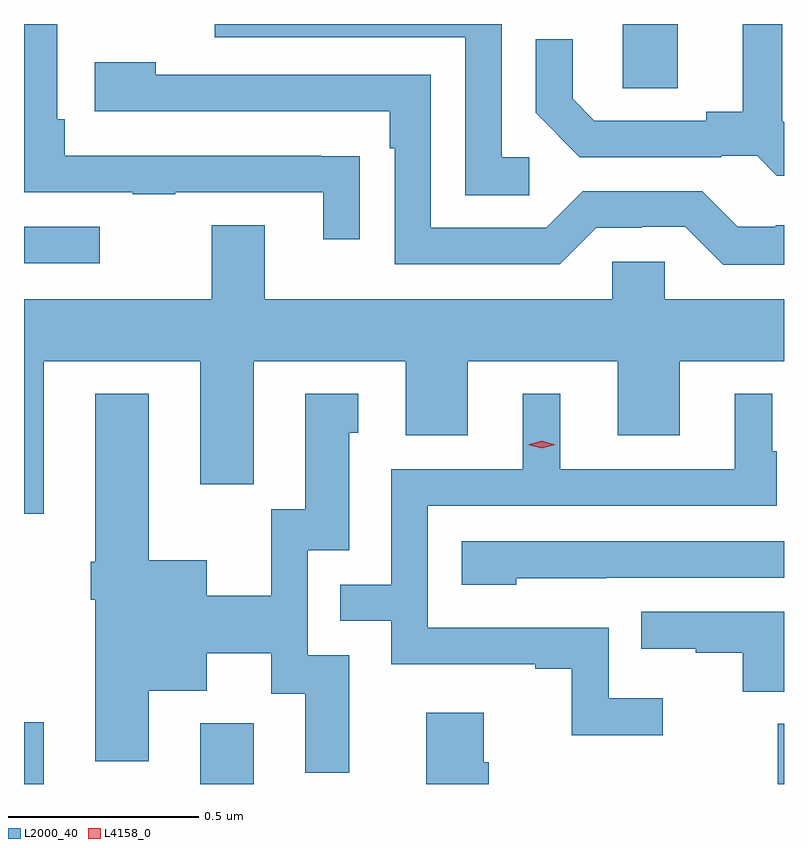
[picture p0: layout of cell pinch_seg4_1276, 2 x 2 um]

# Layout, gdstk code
import gdstk
lib = gdstk.Library(unit=1e-6, precision=1e-09)
def R(c, l, rs):  # rectangles x0, y0, x1, y1
    for r in rs: c.add(gdstk.rectangle(r[:2], r[2:], *l))
def P(c, l, *ps):  # polygons
    for p in ps: c.add(gdstk.Polygon(p, *l))
L2000_40 = (2000, 40)
L4158_0 = (4158, 0)

pinch_seg4_1276 = lib.new_cell('pinch_seg4_1276')
R(pinch_seg4_1276, L2000_40, [(142.821,819.684,142.873,819.847), (143.285,819.684,143.425,819.844), (144.804,819.684,144.821,819.842), (142.821,821.055,143.02,821.151), (144.396,821.515,144.541,821.684)])
P(pinch_seg4_1276, L2000_40, [(144.151,821.334),(144.078,821.334),(144.078,821.684),(143.323,821.684),(143.323,821.649),(143.982,821.649),(143.982,821.233),(144.151,821.233)],
  [(144.821,821.425),(144.817,821.429),(144.817,821.684),(144.713,821.684),(144.713,821.453),(144.617,821.453),(144.617,821.43),(144.322,821.43),(144.265,821.487),(144.265,821.644),(144.168,821.644),(144.168,821.45),(144.284,821.334),(144.656,821.334),(144.656,821.337),(144.75,821.337),(144.802,821.285),(144.821,821.285)],
  [(143.705,821.336),(143.603,821.336),(143.603,821.337),(142.928,821.337),(142.928,821.434),(142.908,821.434),(142.908,821.684),(142.821,821.684),(142.821,821.241),(143.107,821.241),(143.107,821.236),(143.219,821.236),(143.219,821.241),(143.609,821.241),(143.609,821.118),(143.705,821.118)],
  [(144.821,821.155),(144.799,821.155),(144.799,821.151),(144.699,821.151),(144.606,821.244),(144.291,821.244),(144.195,821.148),(143.892,821.148),(143.892,821.55),(143.168,821.55),(143.168,821.584),(143.007,821.584),(143.007,821.454),(143.783,821.454),(143.783,821.357),(143.796,821.357),(143.796,821.052),(144.231,821.052),(144.327,821.148),(144.446,821.148),(144.446,821.151),(144.561,821.151),(144.661,821.051),(144.821,821.051)],
  [(142.873,820.796),(143.285,820.796),(143.285,820.473),(143.425,820.473),(143.425,820.796),(143.825,820.796),(143.825,820.602),(143.989,820.602),(143.989,820.796),(144.383,820.796),(144.383,820.602),(144.547,820.602),(144.547,820.796),(144.821,820.796),(144.821,820.96),(144.507,820.96),(144.507,821.058),(144.369,821.058),(144.369,820.96),(143.455,820.96),(143.455,821.155),(143.315,821.155),(143.315,820.96),(142.821,820.96),(142.821,820.395),(142.873,820.395)],
  [(143.677,820.023),(143.568,820.023),(143.568,820.299),(143.677,820.299),(143.677,820.608),(143.701,820.608),(143.701,820.711),(143.561,820.711),(143.561,820.407),(143.472,820.407),(143.472,820.18),(143.302,820.18),(143.302,820.273),(143.149,820.273),(143.149,820.711),(143.009,820.711),(143.009,820.269),(142.997,820.269),(142.997,820.169),(143.009,820.169),(143.009,819.744),(143.149,819.744),(143.149,819.929),(143.302,819.929),(143.302,820.028),(143.471,820.028),(143.471,819.922),(143.561,819.922),(143.561,819.714),(143.677,819.714)],
  [(144.502,819.91),(144.36,819.91),(144.36,820.095),(143.883,820.095),(143.883,820.416),(144.802,820.416),(144.802,820.56),(144.79,820.56),(144.79,820.711),(144.692,820.711),(144.692,820.512),(144.232,820.512),(144.232,820.711),(144.134,820.711),(144.134,820.512),(143.787,820.512),(143.787,820.209),(143.653,820.209),(143.653,820.113),(143.787,820.113),(143.787,819.999),(144.167,819.999),(144.167,819.987),(144.262,819.987),(144.262,819.812),(144.502,819.812)],
  [(144.117,820.226),(144.353,820.226),(144.353,820.227),(144.821,820.227),(144.821,820.323),(143.973,820.323),(143.973,820.208),(144.117,820.208)],
  [(144.821,820.137),(144.445,820.137),(144.445,820.04),(144.589,820.04),(144.589,820.029),(144.713,820.029),(144.713,819.927),(144.821,819.927)],
  [(144.044,819.741),(144.031,819.741),(144.031,819.871),(143.879,819.871),(143.879,819.684),(144.044,819.684)])
P(pinch_seg4_1276, L4158_0, [(144.183,820.567),(144.147,820.577),(144.147,820.577),(144.147,820.577),(144.183,820.587),(144.219,820.577),(144.219,820.577),(144.219,820.577)])

lib.write_gds('pinch_seg4_1276.gds')
